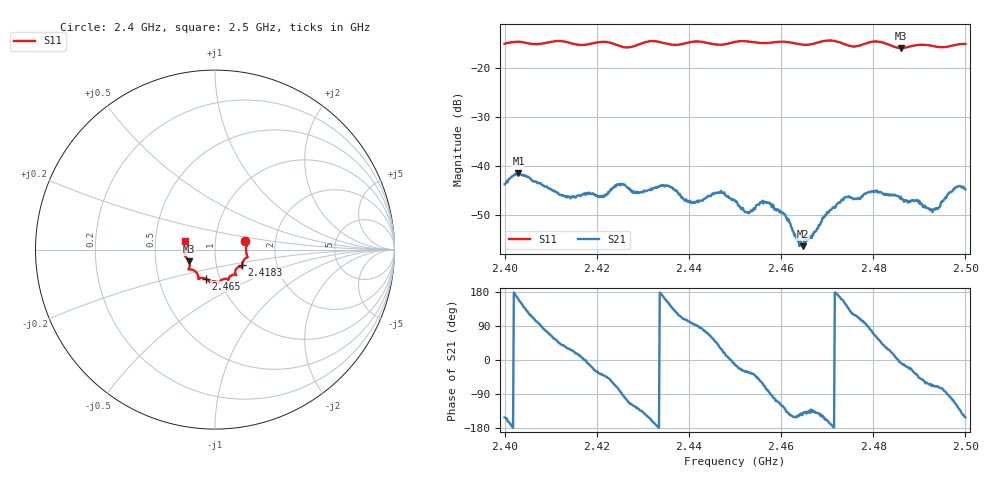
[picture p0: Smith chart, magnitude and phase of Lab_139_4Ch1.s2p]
# Hz S RI R 50
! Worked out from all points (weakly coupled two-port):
!   601 points, 2.4 GHz to 2.5 GHz, reference 50 ohm
!   highest |S21| = -41.54 dB at 2.403 GHz (marker M1); lowest = -56.3 dB at 2.4647 GHz (marker M2)
!   lowest |S11| = -16.0 dB at 2.486 GHz (marker M3), VSWR 1.38, Z = 37.1 - j4.99 ohm
!   |S11| at or under -10 dB: start of sweep to end of sweep
!   S12 and S22 are empty: the file has one direction only
!   S11 on the Smith chart (normalised r, x): 2.4 GHz: 1.40, +0.13; 2.4183 GHz: 1.33, -0.24; 2.465 GHz: 0.86, -0.29; 2.5 GHz: 0.71, +0.07
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2.4e9  0.1688 0.0456  -0.00573 -0.00309  0 0  0 0
2.403e9  0.1798 0.0324  -0.00787 0.00284  0 0  0 0
2.412833e9  0.1794 -0.0437  0.00392 0.00306  0 0  0 0
2.416667e9  0.1552 -0.0684  0.005 0.000594  0 0  0 0
2.418333e9  0.15 -0.0868  0.00523 -0.0011  0 0  0 0
2.425e9  0.134 -0.0967  0.000922 -0.00649  0 0  0 0
2.428667e9  0.1127 -0.1255  -0.00312 -0.00448  0 0  0 0
2.433333e9  0.1168 -0.1413  -0.00606 -0.000331  0 0  0 0
2.440333e9  0.0754 -0.1651  -0.000672 0.0043  0 0  0 0
2.4465e9  0.0483 -0.1637  0.00433 0.00322  0 0  0 0
2.45e9  0.0252 -0.1806  0.00433 -0.00104  0 0  0 0
2.452667e9  0.0195 -0.1838  0.00287 -0.00175  0 0  0 0
2.457833e9  -0.0166 -0.1785  -0.000157 -0.00408  0 0  0 0
2.464667e9  -0.0495 -0.1636  -0.00123 -0.000898  0 0  0 0
2.465e9  -0.0527 -0.1621  -0.0013 -0.00118  0 0  0 0
2.466667e9  -0.0713 -0.1575  -0.00133 -0.00127  0 0  0 0
2.474167e9  -0.0964 -0.1401  -0.00395 0.00278  0 0  0 0
2.483333e9  -0.1419 -0.0961  0.00454 0.00236  0 0  0 0
2.486e9  -0.1438 -0.0655  0.00481 -0.000648  0 0  0 0
2.493e9  -0.1641 -0.0193  0.00133 -0.00334  0 0  0 0
2.497833e9  -0.1663 0.0347  -0.00255 -0.00553  0 0  0 0
2.5e9  -0.167 0.0472  -0.00506 -0.00277  0 0  0 0
